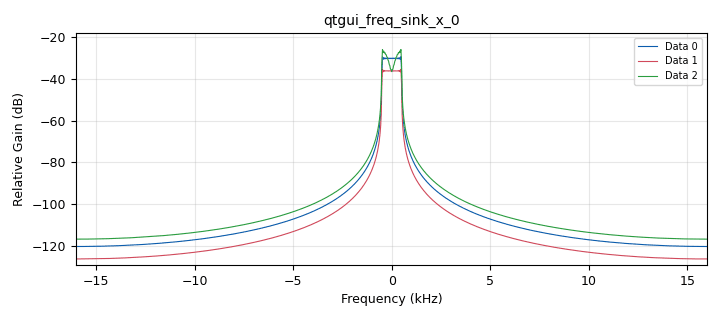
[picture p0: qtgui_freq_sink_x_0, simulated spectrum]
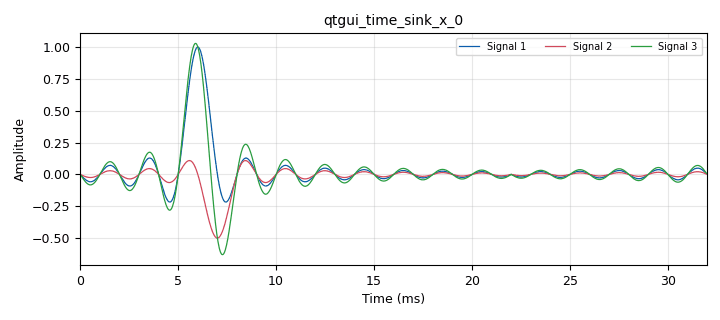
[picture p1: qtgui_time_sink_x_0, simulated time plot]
options:
  parameters:
    author: HP
    generate_options: qt_gui
    id: Lecture_4
    output_language: python
    title: Not titled yet
  states: {}

blocks:
- name: A1
  id: variable_qtgui_range
  parameters:
    start: '-2'
    step: '0.1'
    stop: '2'
    value: '1'
  states: {}
- name: A2
  id: variable_qtgui_range
  parameters:
    start: '-2'
    step: '0.1'
    stop: '2'
    value: '-0.5'
  states: {}
- name: samp_rate
  id: variable
  parameters:
    value: '32000'
  states: {}
- name: t_vals
  id: variable
  parameters:
    value: numpy.arange(-512,512)/32
  states: {}
- name: blocks_add_xx_0
  id: blocks_add_xx
  parameters:
    type: float
  states: {}
- name: blocks_throttle2_0
  id: blocks_throttle2
  parameters:
    samples_per_second: samp_rate
    type: float
  states: {}
- name: blocks_vector_source_x_0
  id: blocks_vector_source_x
  parameters:
    repeat: 'True'
    type: float
    vector: A1*numpy.sinc(t_vals)
  states: {}
- name: blocks_vector_source_x_0_0
  id: blocks_vector_source_x
  parameters:
    repeat: 'True'
    type: float
    vector: A2*numpy.sinc(t_vals-1)
  states: {}
- name: import_0
  id: import
  parameters:
    imports: import numpy
  states: {}
- name: qtgui_freq_sink_x_0
  id: qtgui_freq_sink_x
  parameters:
    autoscale: 'True'
    average: '0.05'
    bw: samp_rate
    fc: '0'
    fftsize: '1024'
    grid: 'True'
    nconnections: '3'
    type: float
    wintype: window.WIN_RECTANGULAR
  states: {}
- name: qtgui_time_sink_x_0
  id: qtgui_time_sink_x
  parameters:
    autoscale: 'True'
    grid: 'True'
    nconnections: '3'
    size: '1024'
    srate: samp_rate
    type: float
  states: {}

connections:
- [blocks_add_xx_0, '0', qtgui_freq_sink_x_0, '2']
- [blocks_add_xx_0, '0', qtgui_time_sink_x_0, '2']
- [blocks_throttle2_0, '0', qtgui_freq_sink_x_0, '0']
- [blocks_throttle2_0, '0', qtgui_time_sink_x_0, '0']
- [blocks_vector_source_x_0, '0', blocks_add_xx_0, '0']
- [blocks_vector_source_x_0, '0', blocks_throttle2_0, '0']
- [blocks_vector_source_x_0_0, '0', blocks_add_xx_0, '1']
- [blocks_vector_source_x_0_0, '0', qtgui_freq_sink_x_0, '1']
- [blocks_vector_source_x_0_0, '0', qtgui_time_sink_x_0, '1']

metadata:
  file_format: 1
  grc_version: 3.10.12.0
